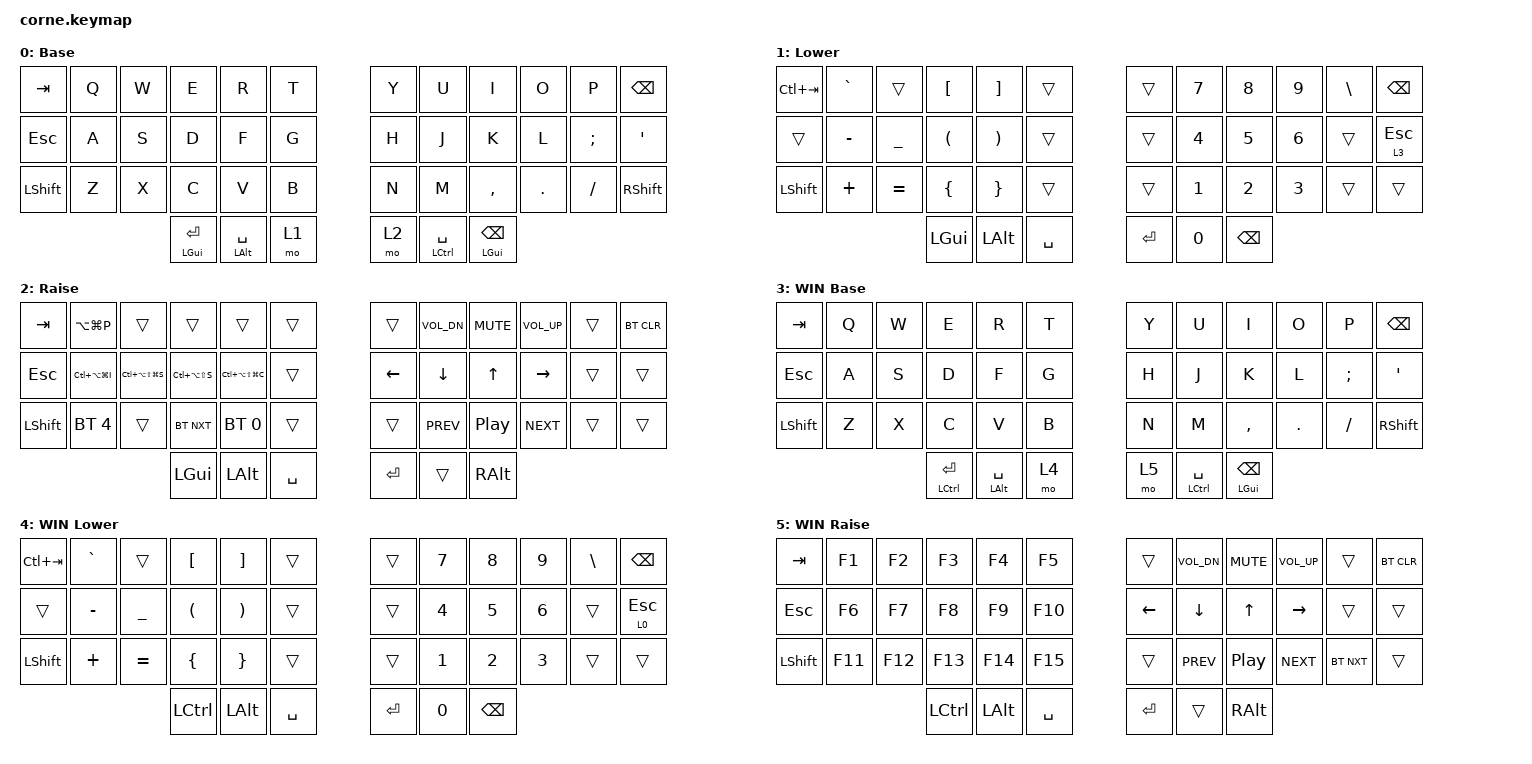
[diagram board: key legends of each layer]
/*
 * Copyright (c) 2020 The ZMK Contributors
 *
 * SPDX-License-Identifier: MIT
 */

#include <behaviors.dtsi>
#include <dt-bindings/zmk/bt.h>
#include <dt-bindings/zmk/keys.h>

/ {
    behaviors {
        ht_bl: hold_tap_balanced {
            compatible = "zmk,behavior-hold-tap";
            label = "HOLD TAP BALANCED";
            #binding-cells = <2>;
            tapping-term-ms = <200>;    // <---[[moderate duration]]
            quick-tap-ms = <0>;
            flavor = "balanced";
            bindings = <&kp>, <&kp>;
        };

        h_long_t_bl: hold_long_tap_balance {
            compatible = "zmk,behavior-hold-tap";
            label = "HOLD LONG TAP BALANCED";
            #binding-cells = <2>;
            tapping-term-ms = <3000>;
            quick-tap-ms = <0>;
            flavor = "balanced";
            bindings = <&to>, <&kp>;
        };

        bt_h_long_t_bl: bluetooth_hold_long_tap_balance { // prevent BT_CLR from being triggered by a quick tap
            compatible = "zmk,behavior-hold-tap";
            label = "BLUETOOTH HOLD LONG TAP BALANCED";
            #binding-cells = <2>;
            tapping-term-ms = <3000>;
            quick-tap-ms = <0>;
            flavor = "balanced";
            bindings = <&bt>, <&kp>;
        };
    };

    keymap {
        compatible = "zmk,keymap";

        default_layer {
            // -----------------------------------------------------------------------------------------
            // |  TAB |  Q  |  W  |  E      |  R        |  T  |   |  Y  |  U        |  I        |  O  |  P  | BKSP |
            // | ESC  |  A  |  S  |  D      |  F        |  G  |   |  H  |  J        |  K        |  L  |  ;  |  '   |
            // | SHFT |  Z  |  X  |  C      |  V        |  B  |   |  N  |  M        |  ,        |  .  |  /  | SHIFT |
            //                    | GUI/ENT | OPT/SPC   | LWR |   | RSE | CTRL/SPC  | GUI/BKSP  |

            display-name = "Base";
            bindings = <
&kp TAB    &kp Q  &kp W  &kp E            &kp R                 &kp T    &kp Y  &kp U      &kp I      &kp O    &kp P     &kp BSPC
&kp ESC    &kp A  &kp S  &kp D            &kp F                 &kp G    &kp H  &kp J      &kp K      &kp L    &kp SEMI  &kp SQT
&kp LSHFT  &kp Z  &kp X  &kp C            &kp V                 &kp B    &kp N  &kp M      &kp COMMA  &kp DOT  &kp FSLH  &kp RSHIFT
                         &ht_bl LGUI RET  &ht_bl LALT SPACE     &mo 1    &mo 2  &ht_bl LCTRL SPACE  &ht_bl LGUI BSPC
            >;
        };

        lower_layer {
            // -----------------------------------------------------------------------------------------
            // |LCTAB |  `~ |     |  [  |  ]  |     |   |     |  7  |  8  |  9  |  \| | BKSP |
            // |      |  -  |  _  |  (  |  )  |     |   | LFT |  4  |  5  |  6  |     | WINDOWSMODE |
            // | SHFT |  +  |  =  |  {  |  }  |     |   |     |  1  |  2  |  3  |     |      |
            //                    | GUI | ALT | SPC |   | ENT |  0  |BKSP |

            display-name = "Lower";
            bindings = <
&kp LC(TAB)     &kp GRAVE   &trans      &kp LBKT    &kp RBKT    &trans          &trans  &kp N7  &kp N8  &kp N9  &kp BSLH    &kp BSPC
&trans          &kp MINUS   &kp UNDER   &kp LPAR    &kp RPAR    &trans          &trans  &kp N4  &kp N5  &kp N6  &trans      &h_long_t_bl 3 ESC
&kp LSHFT       &kp PLUS    &kp EQUAL   &kp LBRC    &kp RBRC    &trans          &trans  &kp N1  &kp N2  &kp N3  &trans      &trans
                                        &kp LGUI    &kp LALT    &kp SPACE       &kp RET &kp N0  &kp BSPC
            >;
        };

        raise_layer {
            // -----------------------------------------------------------------------------------------
            // |  TAB |vsPrj|     |     |     |     |   |     |VOLDN|MUTE |VOLUP|     | BTCLR |
            // | ESC  |iterm|slack|spoti|cursr|     |   | LEFT|DOWN | UP  |RIGHT|     |      |
            // | SHFT | BT5 |     |BT_NXT| BT1 |     |   |     |PREVI|PAUSE| NEXT|     |      |
            //                    | GUI |  ALT| SPC |   | ENT |     | ALT |

            display-name = "Raise";
            bindings = <
&kp TAB     &kp LA(LG(P))       &trans                  &trans              &trans                  &trans       &trans     &kp C_VOL_DN      &kp C_MUTE      &kp C_VOL_UP      &trans      &bt BT_CLR
&kp ESC     &kp LC(LA(LG(I)))   &kp LC(LA(LS(LG(S))))   &kp LC(LA(LS(S)))   &kp LC(LA(LS(LG(C))))   &trans       &kp LEFT   &kp DOWN    &kp UP      &kp RIGHT   &trans      &trans
&kp LSHFT      &bt BT_SEL 4        &trans                  &bt BT_NXT              &bt BT_SEL 0            &trans       &trans     &kp C_PREV      &kp C_PP      &kp C_NEXT      &trans      &trans
                                &kp LGUI  &kp LALT  &kp SPACE    &kp RET    &trans     &kp RALT
            >;
        };



        windows_default_layer {
            // -----------------------------------------------------------------------------------------
            // |  TAB |  Q  |  W  |  E      |  R        |  T  |   |  Y  |  U        |  I        |  O  |  P  | BKSP |
            // | ESC  |  A  |  S  |  D      |  F        |  G  |   |  H  |  J        |  K        |  L  |  ;  |  '   |
            // | SHFT |  Z  |  X  |  C      |  V        |  B  |   |  N  |  M        |  ,        |  .  |  /  | SHIFT |
            //                    | CTRL/ENT | OPT/SPC   | LWR |   | RSE | CTRL/SPC  | GUI/BKSP  |

            display-name = "WIN Base";
            bindings = <
&kp TAB    &kp Q  &kp W  &kp E            &kp R                 &kp T    &kp Y  &kp U      &kp I      &kp O    &kp P     &kp BSPC
&kp ESC    &kp A  &kp S  &kp D            &kp F                 &kp G    &kp H  &kp J      &kp K      &kp L    &kp SEMI  &kp SQT
&kp LSHFT  &kp Z  &kp X  &kp C            &kp V                 &kp B    &kp N  &kp M      &kp COMMA  &kp DOT  &kp FSLH  &kp RSHIFT
                         &ht_bl LCTRL RET  &ht_bl LALT SPACE     &mo 4    &mo 5  &ht_bl LCTRL SPACE  &ht_bl LGUI BSPC
            >;
        };

        windows_lower_layer {
            // -----------------------------------------------------------------------------------------
            // |LCTAB |  `~ |     |  [  |  ]  |     |   |     |  7  |  8  |  9  |  \| | BKSP |
            // |      |  -  |  _  |  (  |  )  |     |   | LFT |  4  |  5  |  6  |     | WINDOWSMODE |
            // | SHFT |  +  |  =  |  {  |  }  |     |   |     |  1  |  2  |  3  |     |      |
            //                    | CTRL | ALT | SPC |   | ENT |  0  |BKSP |

            display-name = "WIN Lower";
            bindings = <
&kp LC(TAB)     &kp GRAVE   &trans      &kp LBKT    &kp RBKT    &trans          &trans  &kp N7  &kp N8  &kp N9  &kp BSLH    &kp BSPC
&trans          &kp MINUS   &kp UNDER   &kp LPAR    &kp RPAR    &trans          &trans  &kp N4  &kp N5  &kp N6  &trans      &h_long_t_bl 0 ESC
&kp LSHFT       &kp PLUS    &kp EQUAL   &kp LBRC    &kp RBRC    &trans          &trans  &kp N1  &kp N2  &kp N3  &trans      &trans
                                        &kp LCTRL    &kp LALT    &kp SPACE       &kp RET &kp N0  &kp BSPC
            >;
        };

        windows_raise_layer {
            // -----------------------------------------------------------------------------------------
            // |  TAB |F1|F2|F3|F4|F5|   |     |VOLDN|MUTE |VOLUP|     | BTCLR |
            // | ESC  |F6|F7|F8|F9|F10|   | LEFT|DOWN | UP  |RIGHT|     |      |
            // |SHIFT | F11 |F12|F13| F14 |F15|   |     |PREVI|PAUSE| NEXT|BT_NXT|      |
            //                    | CTRL |  ALT| SPC |   | ENT |     | ALT |

            display-name = "WIN Raise";
            bindings = <
&kp TAB     &kp F1       &kp F2                  &kp F3              &kp F4                  &kp F5       &trans     &kp C_VOL_DN      &kp C_MUTE      &kp C_VOL_UP      &trans      &bt BT_CLR
&kp ESC     &kp F6   &kp F7   &kp F8   &kp F9   &kp F10       &kp LEFT   &kp DOWN    &kp UP      &kp RIGHT   &trans      &trans
&kp LSHFT      &kp F11        &kp F12                  &kp F13              &kp F14             &kp F15       &trans     &kp C_PREV      &kp C_PP      &kp C_NEXT      &bt BT_NXT      &trans
                                &kp LCTRL  &kp LALT  &kp SPACE    &kp RET    &trans     &kp RALT
            >;
        };


    };
};
